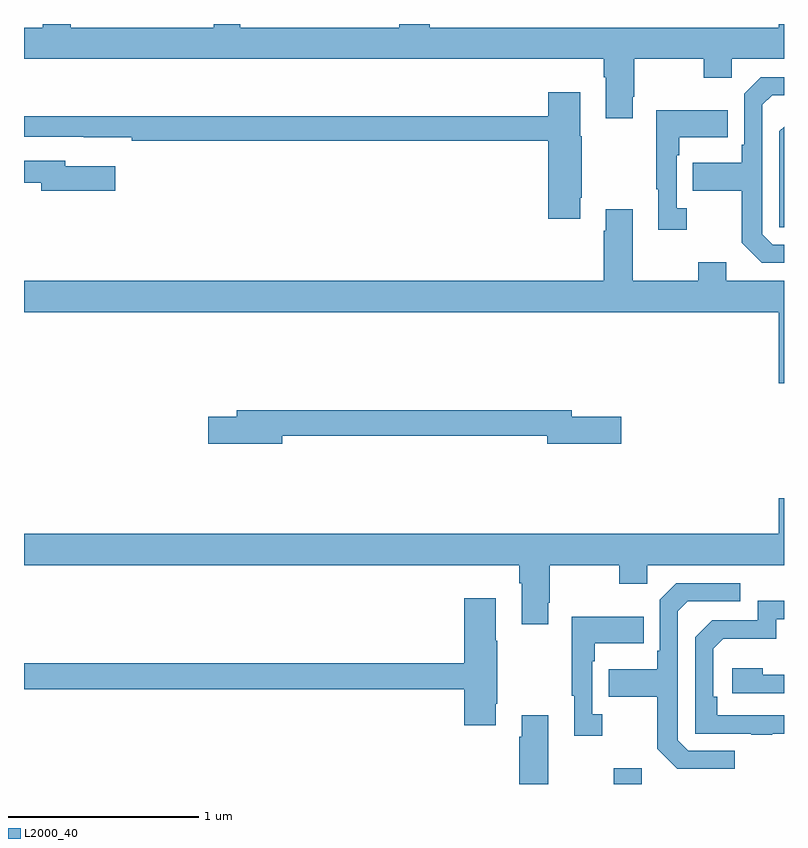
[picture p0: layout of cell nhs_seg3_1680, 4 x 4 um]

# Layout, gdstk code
import gdstk
lib = gdstk.Library(unit=1e-6, precision=1e-09)
def R(c, l, rs):  # rectangles x0, y0, x1, y1
    for r in rs: c.add(gdstk.rectangle(r[:2], r[2:], *l))
def P(c, l, *ps):  # polygons
    for p in ps: c.add(gdstk.Polygon(p, *l))
L2000_40 = (2000, 40)

nhs_seg3_1680 = lib.new_cell('nhs_seg3_1680')
R(nhs_seg3_1680, L2000_40, [(200.104,730.4,200.251,730.483)])
P(nhs_seg3_1680, L2000_40, [(200.203,734.017),(200.211,734.017),(200.211,734.216),(200.578,734.216),(200.578,734.117),(200.724,734.117),(200.724,734.216),(201,734.216),(201,734.4),(200.972,734.4),(200.972,734.38),(199.136,734.38),(199.136,734.4),(198.976,734.4),(198.976,734.38),(198.139,734.38),(198.139,734.4),(197.999,734.4),(197.999,734.38),(197.245,734.38),(197.245,734.4),(197.098,734.4),(197.098,734.38),(197,734.38),(197,734.216),(200.051,734.216),(200.051,734.12),(200.063,734.12),(200.063,733.905),(200.203,733.905)],
  [(201,733.239),(200.94,733.239),(200.886,733.293),(200.886,733.974),(200.937,734.025),(201,734.025),(201,734.121),(200.877,734.121),(200.79,734.034),(200.79,733.765),(200.778,733.765),(200.778,733.669),(200.521,733.669),(200.521,733.522),(200.778,733.522),(200.778,733.249),(200.883,733.143),(201,733.143)],
  [(199.927,733.486),(199.935,733.486),(199.935,733.809),(199.927,733.809),(199.927,734.041),(199.76,734.041),(199.76,733.915),(197,733.915),(197,733.806),(197.314,733.806),(197.314,733.805),(197.566,733.805),(197.566,733.786),(199.76,733.786),(199.76,733.374),(199.927,733.374)],
  [(200.488,733.43),(200.436,733.43),(200.436,733.709),(200.449,733.709),(200.449,733.805),(200.705,733.805),(200.705,733.945),(200.328,733.945),(200.328,733.529),(200.339,733.529),(200.339,733.317),(200.488,733.317)],
  [(201,733.86),(200.976,733.836),(200.976,733.329),(201,733.329)],
  [(197.479,733.651),(197.218,733.651),(197.218,733.68),(197,733.68),(197,733.564),(197.09,733.564),(197.09,733.522),(197.479,733.522)],
  [(201,733.048),(200.695,733.048),(200.695,733.147),(200.548,733.147),(200.548,733.048),(200.203,733.048),(200.203,733.426),(200.063,733.426),(200.063,733.313),(200.051,733.313),(200.051,733.048),(197,733.048),(197,732.884),(200.972,732.884),(200.972,732.51),(201,732.51)],
  [(198.358,732.232),(199.754,732.232),(199.754,732.19),(200.143,732.19),(200.143,732.332),(199.882,732.332),(199.882,732.368),(198.119,732.368),(198.119,732.332),(197.97,732.332),(197.97,732.19),(198.358,732.19)],
  [(199.759,731.353),(199.767,731.353),(199.767,731.552),(200.134,731.552),(200.134,731.453),(200.28,731.453),(200.28,731.552),(201,731.552),(201,731.905),(200.972,731.905),(200.972,731.716),(197,731.716),(197,731.552),(199.607,731.552),(199.607,731.456),(199.619,731.456),(199.619,731.241),(199.759,731.241)],
  [(200.74,730.575),(200.496,730.575),(200.442,730.629),(200.442,731.31),(200.493,731.361),(200.77,731.361),(200.77,731.457),(200.433,731.457),(200.346,731.37),(200.346,731.101),(200.334,731.101),(200.334,731.005),(200.077,731.005),(200.077,730.858),(200.334,730.858),(200.334,730.585),(200.439,730.479),(200.74,730.479)],
  [(199.483,730.822),(199.491,730.822),(199.491,731.153),(199.483,731.153),(199.483,731.377),(199.316,731.377),(199.316,731.036),(197,731.036),(197,730.9),(199.316,730.9),(199.316,730.71),(199.483,730.71)],
  [(200.939,730.665),(201,730.665),(201,730.761),(200.648,730.761),(200.648,730.858),(200.628,730.858),(200.628,731.112),(200.681,731.165),(200.958,731.165),(200.958,731.268),(201,731.268),(201,731.364),(200.862,731.364),(200.862,731.262),(200.622,731.262),(200.532,731.172),(200.532,730.665),(200.827,730.665),(200.827,730.66),(200.939,730.66)],
  [(200.044,730.766),(199.992,730.766),(199.992,731.045),(200.005,731.045),(200.005,731.141),(200.261,731.141),(200.261,731.281),(199.884,731.281),(199.884,730.865),(199.895,730.865),(199.895,730.653),(200.044,730.653)],
  [(201,730.974),(200.888,730.974),(200.888,731.008),(200.727,731.008),(200.727,730.878),(201,730.878)],
  [(199.759,730.762),(199.619,730.762),(199.619,730.649),(199.607,730.649),(199.607,730.4),(199.759,730.4)])

lib.write_gds('nhs_seg3_1680.gds')
